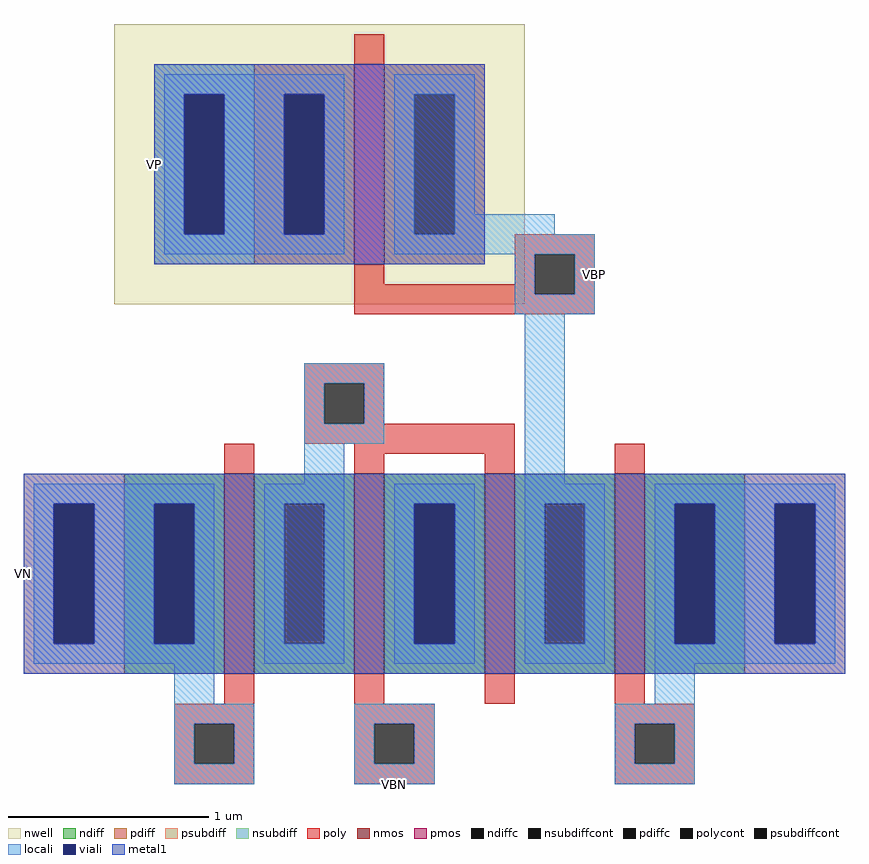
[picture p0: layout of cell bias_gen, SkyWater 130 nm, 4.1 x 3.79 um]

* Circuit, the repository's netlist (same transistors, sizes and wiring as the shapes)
* NGSPICE file created from bias_gen.ext - technology: sky130A


* Top level circuit bias_gen

X0 VBN VN VN VN sky130_fd_pr__nfet_01v8 ad=0.25 pd=1.5 as=0.5 ps=3 w=1 l=0.15
X1 VN VBN VBN VN sky130_fd_pr__nfet_01v8 ad=0.25 pd=1.5 as=0.25 ps=1.5 w=1 l=0.15
X2 VN VN VBP VN sky130_fd_pr__nfet_01v8 ad=0.5 pd=3 as=0.25 ps=1.5 w=1 l=0.15
X3 VBP VBN VN VN sky130_fd_pr__nfet_01v8 ad=0.25 pd=1.5 as=0.25 ps=1.5 w=1 l=0.15
X4 VBP VBP VP VP sky130_fd_pr__pfet_01v8 ad=0.5 pd=3 as=0.5 ps=3 w=1 l=0.15
.end

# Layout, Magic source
magic
tech sky130A
magscale 1 2
<< nwell >>
rect -230 251 180 531
<< nmos >>
rect -120 -118 -90 82
rect 10 -118 40 82
rect 140 -118 170 82
rect 270 -118 300 82
<< pmos >>
rect 10 291 40 491
<< ndiff >>
rect -220 52 -120 82
rect -220 -88 -190 52
rect -150 -88 -120 52
rect -220 -118 -120 -88
rect -90 52 10 82
rect -90 -88 -60 52
rect -20 -88 10 52
rect -90 -118 10 -88
rect 40 52 140 82
rect 40 -88 70 52
rect 110 -88 140 52
rect 40 -118 140 -88
rect 170 52 270 82
rect 170 -88 200 52
rect 240 -88 270 52
rect 170 -118 270 -88
rect 300 52 400 82
rect 300 -88 330 52
rect 370 -88 400 52
rect 300 -118 400 -88
<< pdiff >>
rect -90 461 10 491
rect -90 321 -60 461
rect -20 321 10 461
rect -90 291 10 321
rect 40 461 140 491
rect 40 321 70 461
rect 110 321 140 461
rect 40 291 140 321
<< ndiffc >>
rect -190 -88 -150 52
rect -60 -88 -20 52
rect 70 -88 110 52
rect 200 -88 240 52
rect 330 -88 370 52
<< pdiffc >>
rect -60 321 -20 461
rect 70 321 110 461
<< psubdiff >>
rect -320 52 -220 82
rect -320 -88 -290 52
rect -250 -88 -220 52
rect -320 -118 -220 -88
rect 400 52 500 82
rect 400 -88 430 52
rect 470 -88 500 52
rect 400 -118 500 -88
<< nsubdiff >>
rect -190 461 -90 491
rect -190 321 -160 461
rect -120 321 -90 461
rect -190 291 -90 321
<< psubdiffcont >>
rect -290 -88 -250 52
rect 430 -88 470 52
<< nsubdiffcont >>
rect -160 321 -120 461
<< poly >>
rect 10 491 40 521
rect 170 301 250 321
rect 10 271 40 291
rect 170 271 190 301
rect 10 261 190 271
rect 230 261 250 301
rect 10 241 250 261
rect -40 172 40 192
rect -40 132 -20 172
rect 20 132 40 172
rect -40 112 170 132
rect -120 82 -90 112
rect 10 102 170 112
rect 10 82 40 102
rect 140 82 170 102
rect 270 82 300 112
rect -120 -148 -90 -118
rect -170 -168 -90 -148
rect -170 -208 -150 -168
rect -110 -208 -90 -168
rect -170 -228 -90 -208
rect 10 -148 40 -118
rect 140 -148 170 -118
rect 270 -148 300 -118
rect 10 -168 90 -148
rect 10 -208 30 -168
rect 70 -208 90 -168
rect 10 -228 90 -208
rect 270 -168 350 -148
rect 270 -208 290 -168
rect 330 -208 350 -168
rect 270 -228 350 -208
<< polycont >>
rect 190 261 230 301
rect -20 132 20 172
rect -150 -208 -110 -168
rect 30 -208 70 -168
rect 290 -208 330 -168
<< locali >>
rect -180 461 0 481
rect -180 321 -160 461
rect -120 321 -60 461
rect -20 321 0 461
rect -180 301 0 321
rect 50 461 130 481
rect 50 321 70 461
rect 110 341 130 461
rect 110 321 210 341
rect 50 301 250 321
rect 170 261 190 301
rect 230 261 250 301
rect 170 241 250 261
rect -40 172 40 192
rect -40 132 -20 172
rect 20 132 40 172
rect -40 112 40 132
rect -40 72 0 112
rect 180 72 220 241
rect -310 52 -130 72
rect -310 -88 -290 52
rect -250 -88 -190 52
rect -150 -88 -130 52
rect -310 -108 -130 -88
rect -80 52 0 72
rect -80 -88 -60 52
rect -20 -88 0 52
rect -80 -108 0 -88
rect 50 52 130 72
rect 50 -88 70 52
rect 110 -88 130 52
rect 50 -108 130 -88
rect 180 52 260 72
rect 180 -88 200 52
rect 240 -88 260 52
rect 180 -108 260 -88
rect 310 52 490 72
rect 310 -88 330 52
rect 370 -88 430 52
rect 470 -88 490 52
rect 310 -108 490 -88
rect -170 -148 -130 -108
rect 310 -148 350 -108
rect -170 -168 -90 -148
rect -170 -208 -150 -168
rect -110 -208 -90 -168
rect -170 -228 -90 -208
rect 10 -168 90 -148
rect 10 -208 30 -168
rect 70 -208 90 -168
rect 10 -228 90 -208
rect 270 -168 350 -148
rect 270 -208 290 -168
rect 330 -208 350 -168
rect 270 -228 350 -208
<< viali >>
rect -160 321 -120 461
rect -60 321 -20 461
rect -290 -88 -250 52
rect -190 -88 -150 52
rect 70 -88 110 52
rect 330 -88 370 52
rect 430 -88 470 52
<< metal1 >>
rect -190 461 140 491
rect -190 321 -160 461
rect -120 321 -60 461
rect -20 321 140 461
rect -190 291 140 321
rect -320 52 500 82
rect -320 -88 -290 52
rect -250 -88 -190 52
rect -150 -88 70 52
rect 110 -88 330 52
rect 370 -88 430 52
rect 470 -88 500 52
rect -320 -118 500 -88
<< labels >>
rlabel metal1 -190 391 -190 391 7 VP
port 1 w
rlabel locali 250 281 250 281 3 VBP
port 4 e
rlabel locali 50 -228 50 -228 5 VBN
port 3 s
rlabel metal1 -320 -18 -320 -18 7 VN
port 2 w
<< end >>
